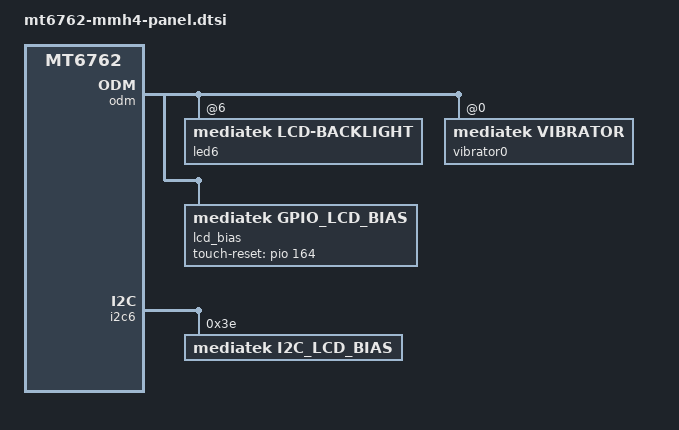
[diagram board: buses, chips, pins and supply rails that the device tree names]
/*
 * LG Electronics MT6765 HDK panel device tree source
 *
 * Copyright (c) 2018 LG Electronics Co., Ltd.
 *              http://www.lge.com
 *
 */

&odm {
	led0:led@0 {
		status = "disabled";
	};
	led1:led@1 {
		status = "disabled";
	};
	led2:led@2 {
		status = "disabled";
	};
	led3:led@3 {
		status = "disabled";
	};
	led4:led@4 {
		status = "disabled";
	};
	led5:led@5 {
		status = "disabled";
	};
	led6:led@6 {
		compatible = "mediatek,lcd-backlight";
		led_mode = <5>;
		data = <1>;
		pwm_config = <0 14 0 0 0>;
		lge.blmap-size = <256>;
		lge.blmap = <
			7 7 7 7 7 7 7 7 7 7 7 7 7 7 7 7 7 8 8 8							//19
			8 8 8 8 9 9 9 10 10 10 11 11 11 12 12 13 13 13 14 15					//39
			15 16 17 17 18 19 19 21 22 23 24 26 27 28 29 31 32 33 35 35				//59
			36 37 39 40 41 43 44 46 47 48 50 51 53 54 56 58 60 62 64 65				//79
			67 69 71 73 75 77 79 81 83 85 87 90 92 94 96 98 100 103 105 108				//99
			111 114 117 120 123 126 129 132 135 137 140 143 146 148 151 154 157 159 162 165		//119
			168 171 175 179 183 187 191 195 199 203 207 211 215 220 223 227 233 240 247 257		//139
			267 270 274 277 282 287 289 291 293 296 299 302 305 307 309 311 313 315 320 325		//159
			331 336 341 347 352 358 363 368 374 379 385 390 396 401 407 413 418 424 429 435		//179
			441 446 452 458 465 472 479 486 493 500 507 514 521 528 535 540 545 551 556 561		//199
			567 572 578 583 588 594 599 605 614 623 632 641 650 660 669 678 687 696 705 715		//219
			721 728 734 741 747 754 760 767 773 780 786 793 800 807 815 823 830 838 846 853		//239
			861 869 876 884 892 900 911 923 935 947 958 970 982 994 1005 1017			//255
		>;
		lge.blmap_2nd = <
			7 7 7 7 7 7 7 7 7 7 7 7 7 7 7 7 7 8 8 8							//19
			8 8 8 8 9 9 9 10 10 10 11 11 11 12 12 13 13 13 14 15					//39
			15 16 17 17 18 19 19 21 22 23 24 26 27 28 29 31 32 33 35 37				//59
			40 42 44 46 48 50 53 55 57 59 61 64 66 68 70 72 75 77 79 81                    		// 79
			83 85 88 90 92 94 96 99 101 103 105 107 110 112 114 116 118 120 123 125                 // 99
			127 129 131 134 136 138 140 142 145 149 153 157 161 165 169 173 177 181 185 189         // 119
			193 197 201 205 209 213 217 221 225 229 233 237 241 245 249 253 257 261 265 269         // 139
			273 277 281 285 289 293 297 301 305 309 313 317 321 325 329 333 337 342 347 352         // 159
			358 363 368 374 379 384 390 395 401 406 411 417 422 427 433 438 443 449 454 460         // 179
			465 470 476 481 486 492 497 503 508 513 519 524 529 535 540 545 551 556 562 567         // 199
			572 578 583 588 594 599 605 613 621 630 638 647 655 663 672 678 689 697 705 714         // 219
			722 731 739 747 756 764 773 781 789 798 806 815 823 832 840 848 857 865 874 882         // 239
			890 899 907 916 924 932 941 949 958 966 974 983 991 1000 1008 1017                    	// 255
		>;
		lge.pwm_max_brightness = <215>;
	};
	vibrator0:vibrator@0 {
		compatible = "mediatek,vibrator";
		vib_timer = <25>;
		vib_limit = <9>;
		vib_vol= <9>;
	};
};

&i2c6 {
	i2c_lcd_bias@3e {
		compatible = "mediatek,i2c_lcd_bias";
		reg = <0x3e>;
		status = "okay";
	};
};

&odm {
	lcd_bias {
		compatible = "mediatek,gpio_lcd_bias";
		status = "okay";
		touch-reset-gpio = <&pio 164 0x00>;
		pinctrl-names = "default",
				"lcd_bias_gpio_lcm_rst0", "lcd_bias_gpio_lcm_rst1",
				"lcd_bias_gpio_vpos_en0", "lcd_bias_gpio_vpos_en1",
				"lcd_bias_gpio_vneg_en0", "lcd_bias_gpio_vneg_en1",
				"lcd_bias_lcd_ldo_en0", "lcd_bias_lcd_ldo_en1";
		pinctrl-0 = <&lcd_bias_pins_default>;
		pinctrl-1 = <&lcd_bias_pins_lcm_rst0>;
		pinctrl-2 = <&lcd_bias_pins_lcm_rst1>;
		pinctrl-3 = <&lcd_bias_pins_vpos_en0>;
		pinctrl-4 = <&lcd_bias_pins_vpos_en1>;
		pinctrl-5 = <&lcd_bias_pins_vneg_en0>;
		pinctrl-6 = <&lcd_bias_pins_vneg_en1>;
		pinctrl-7 = <&lcd_bias_pins_lcd_ldo_en0>;
		pinctrl-8 = <&lcd_bias_pins_lcd_ldo_en1>;
	};
};

&pio {
	lcd_bias_pins_default: lcd_bias_gpio_default {
	};
	lcd_bias_pins_lcm_rst0: lcd_bias_gpio_lcm_rst0 {
		pins_cmd_dat {
			pinmux = <PINMUX_GPIO45__FUNC_GPIO45>;
			slew-rate = <1>;
			output-low;
		};
	};

	lcd_bias_pins_lcm_rst1: lcd_bias_gpio_lcm_rst1 {
		pins_cmd_dat {
			pinmux = <PINMUX_GPIO45__FUNC_GPIO45>;
			slew-rate = <1>;
			output-high;
		};
	};

	lcd_bias_pins_vpos_en0: lcd_bias_gpio_vpos_en0 {
		pins_cmd_dat {
			pinmux = <PINMUX_GPIO16__FUNC_GPIO16>;
			slew-rate = <1>;
			output-low;
		};
	};

	lcd_bias_pins_vpos_en1: lcd_bias_gpio_vpos_en1 {
		pins_cmd_dat {
			pinmux = <PINMUX_GPIO16__FUNC_GPIO16>;
			slew-rate = <1>;
			output-high;
		};
	};

	lcd_bias_pins_vneg_en0: lcd_bias_gpio_vneg_en0 {
		pins_cmd_dat {
			pinmux = <PINMUX_GPIO14__FUNC_GPIO14>;
			slew-rate = <1>;
			output-low;
		};
	};

	lcd_bias_pins_vneg_en1: lcd_bias_gpio_vneg_en1 {
		pins_cmd_dat {
			pinmux = <PINMUX_GPIO14__FUNC_GPIO14>;
			slew-rate = <1>;
			output-high;
		};
	};

	lcd_bias_pins_lcd_ldo_en0: lcd_bias_lcd_ldo_en0 {
		pins_cmd_dat {
			pinmux = <PINMUX_GPIO42__FUNC_GPIO42>;
			slew-rate = <1>;
			output-low;
		};
	};

	lcd_bias_pins_lcd_ldo_en1: lcd_bias_lcd_ldo_en1 {
		pins_cmd_dat {
			pinmux = <PINMUX_GPIO42__FUNC_GPIO42>;
			slew-rate = <1>;
			output-high;
		};
	};
};

&mt6370_pmu {
	bled {
		/* mt,ext_en_pin; */
		mt,chan_en  = <0xf>; /* bit 0 1 2 3 -> chan 1 2 3 4 */
		mt,map_linear;
		mt,bl_ovp_level = <3>;	/* 0: 17v */
					/* 1: 21v */
					/* 2: 25v */
					/* 3: 29v */
		mt,bl_ocp_level = <2>;	/* 0: 900mA */
					/* 1: 1200mA */
					/* 2: 1500mA */
					/* 3: 1800mA */
		mt,use_pwm;
		mt,pwm_fsample = <2>;	/* 0: 1MHz */
					/* 1: 4MHz */
					/* 2: or 3: 24mHz */
		mt,pwm_deglitch = <1>;	/* 0: no filter */
					/* 1: 100ns */
					/* 2: 160ns */
					/* 3: 200ns */
		mt,pwm_avg_cycle = <0>; /* 0: disable avg */
					/* 1: avg 2 cycle */
					/* 2: avg 4 cycle */
					/* 3: avg 8 cycle */
					/* 4: avg 16 cycle */
					/* 5: avg 32 cycle */
		mt,bled_ramptime = <3>; /* 0, 500us, 750us, 1ms, 2ms */
					/* 5ms, 10ms, 20ms, 50ms */
					/* 100ms, 250ms, 800ms */
					/* 1s, 2s, 4s, 8s */
		mt,bled_flash_ramp = <1>;	/* 0, 500us, 750us */
						/* 1ms, 2ms, 5ms */

		/* we have 11 bit resolution, quantize in driver */
		mt,max_bled_brightness = <1023>; /* maximum 2047 */
	};
	dsv {
		db_ext_en = <0>;  /* 0 = i2c ctrl; 1 = ext pin */

		/* 1 = prevent from voltage drop when db is restart */
		db_periodic_fix = <0>;

		/* 0 : VOS & VNEG are ctrled by DB_ENP & DB_ENN*/
		/* 1 : single pin ctrl*/
		db_single_pin = <0>;

		/* 0 = 20Hz */
		/* 1 = 33Hz; valid if db_period_mode = 1 */
		db_freq_pm = <0>;

		/* 0 = always on if DB is enabled */
		/* 1 = DB period mode */
		db_periodic_mode = <0>;

		/* 0 = close loop, wait 80% */
		/* 1 = open loop, go after soft-start dimming */
		db_startup = <0>;

		/* 1 = DB VNEG discharge 20ms when shutdown */
		/* 0 = disable */
		db_vneg_20ms = <0>;

		/* 1 = Discharge VNEG when turn off */
		/* 0 = disable */
		db_vneg_disc = <0>;

		/* 1 = DB VPOS discharge 20ms when shutdown */
		/* 0 = disable */
		db_vpos_20ms = <0>;

		/* 1 = Discharge VPOS when turn off */
		/* 0 = disable */
		db_vpos_disc = <0>;

		db_delay = <3>;	/* 0 = no constraint */
				/* 1 = 0 ms */
				/* 2 = 1 ms */
				/* 3 = 4 ms */
		db_vbst  = <5700>;      /* mV */
		db_vpos_slew = <1>;	/* 0: 8.46 V/ms */
					/* 1: 5.79 V/ms */
					/* 2: 3.87 V/ms */
					/* 3: 2.97 V/ms */
		db_vneg_slew = <1>;	/* 0: -9.24V/ms */
					/* 1: -5.97V/ms */
					/* 2: -4.82V/ms */
					/* 3: -3.07V/ms */
		mt6370_dsvp {
			/* change name by yourself */
			regulator-name = "dsv_pos";

			regulator-min-microvolt = <4000000>;

			/* max == min then apply_uV = 1 */
			regulator-max-microvolt = <6000000>;

			/* optional*/
			/* regulator-microvolt-offset = <0>; */

			/* optional, exist = enabled */
			/* regulator-boot-on = "yes"; */

			/* optional, exist = enabled */
			/* regulator-always-on = "yes"; */

			/* optional */
			/* regulator-ramp-delay = <100>; */
		};
		mt6370_dsvn {
			/* change name by yourself */
			regulator-name = "dsv_neg";

			regulator-min-microvolt = <4000000>;

			/* max == min then apply_uV = 1 */
			regulator-max-microvolt = <6000000>;

			/* optional*/
			/* regulator-microvolt-offset = <0> */

			/* optional, exist = enabled */
			/* regulator-boot-on = "yes"; */

			/* optional, exist = enabled */
			/* regulator-always-on = "yes"; */

			/* regulator-ramp-delay = <100>; */
		};
	};
};
